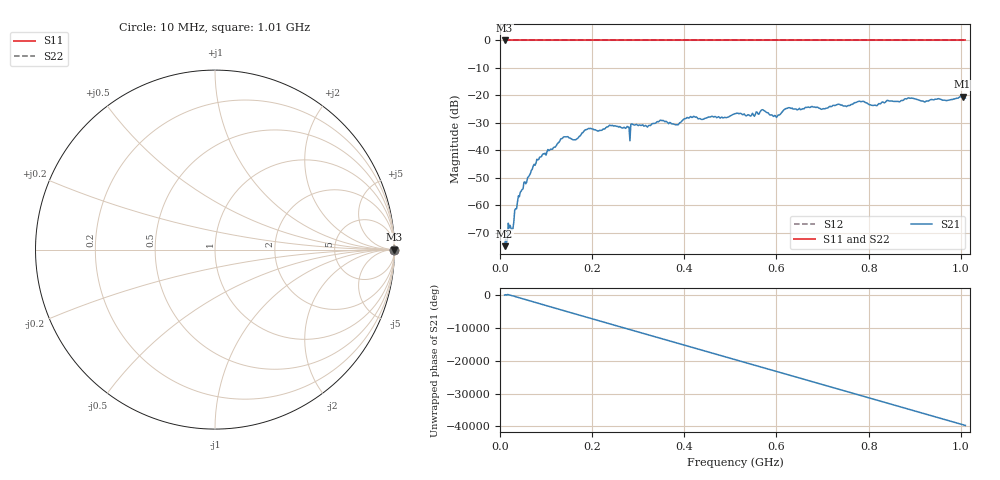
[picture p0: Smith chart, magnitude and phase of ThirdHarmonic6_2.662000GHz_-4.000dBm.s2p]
! 8/17/2025 6:08:26 AM
! C:\ANRITSUVNA\TEMP\TEMP.S2P
! CHANNEL.1
! TR.MEASUREMENT
! RAW.DATA
! RF.CORRECTION.OFF
! AVERAGING.OFF
! IF.BANDWIDTH: 5KHZ
! SWEEPTYPE:  FREQ.SWEEP(Linear)
! Reference Plane Port Info
! PORT:  PORT1  PORT2
! DISTANCE:  0  m  0  m
! TIME:  0  s  0  s
! PHASE.OFFSET:  0  deg.  0  deg.
! LOSS:  0  dB  0  dB
! REF.LOSS:  0  dB  0  dB
! REF.FREQ:  0  Hz  0  Hz
! Power Info
! POWER:  -20  dBm  -20  dBm
! EFF.POWER:  -20  dBm  -20  dBm
! SOURCE.ATTEN:  0  dB  0  dB
! TEST.ATTEN:  0  dB  0  dB
# GHZ S RI R 50.0
! FREQ.GHZ  S11RE  S11IM  S21RE  S21IM  S12RE  S12IM  S22RE  S22IM
!; PortSelection: Port_12
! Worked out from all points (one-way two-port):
!   501 points, 10 MHz to 1.01 GHz, reference 50 ohm
!   highest |S21| = -20.48 dB at 1.004 GHz (marker M1); lowest = -74.9 dB at 10 MHz (marker M2)
!   lowest |S11| = 0.0 dB at 10 MHz (marker M3)
!   |S11| at or under -10 dB: nowhere
!   |S22| runs from 0.0 to 0.0 dB; largest |S21 - S12| = 1.1
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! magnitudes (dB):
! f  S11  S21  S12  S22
! 10 MHz  0.0  -74.9  0.0  0.0
! 20 MHz  0.0  -68.3  0.0  0.0
! 26 MHz  0.0  -69.0  0.0  0.0
! 42 MHz  0.0  -56.9  0.0  0.0
! 76 MHz  0.0  -45.5  0.0  0.0
! 136 MHz  0.0  -35.5  0.0  0.0
! 162 MHz  0.0  -36.2  0.0  0.0
! 178 MHz  0.0  -33.7  0.0  0.0
! 240 MHz  0.0  -31.0  0.0  0.0
! 278 MHz  0.0  -31.6  0.0  0.0
! 288 MHz  0.0  -30.6  0.0  0.0
! 344 MHz  0.0  -29.6  0.0  0.0
! 384 MHz  0.0  -30.7  0.0  0.0
! 410 MHz  0.0  -28.3  0.0  0.0
! 510 MHz  0.0  -26.7  0.0  0.0
! 570 MHz  0.0  -25.2  0.0  0.0
! 598 MHz  0.0  -27.4  0.0  0.0
! 624 MHz  0.0  -24.7  0.0  0.0
! 678 MHz  0.0  -24.1  0.0  0.0
! 844 MHz  0.0  -22.0  0.0  0.0
! 1.004 GHz  0.0  -20.5  0.0  0.0
! 1.01 GHz  0.0  -21.0  0.0  0.0
